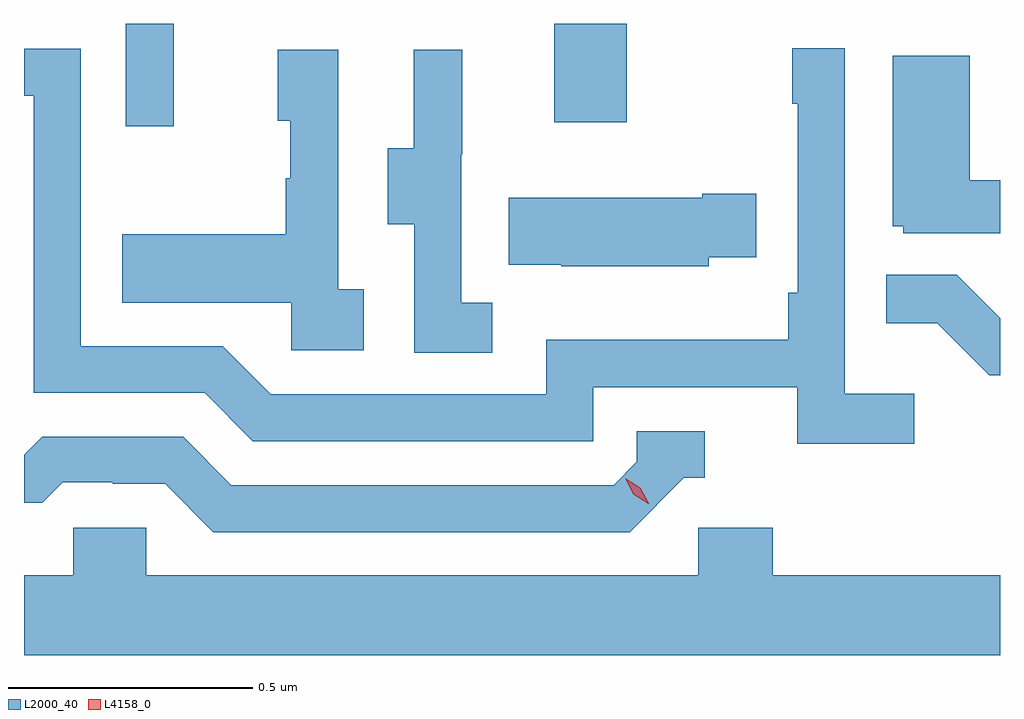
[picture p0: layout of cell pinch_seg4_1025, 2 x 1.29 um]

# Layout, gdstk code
import gdstk
lib = gdstk.Library(unit=1e-6, precision=1e-09)
def R(c, l, rs):  # rectangles x0, y0, x1, y1
    for r in rs: c.add(gdstk.rectangle(r[:2], r[2:], *l))
def P(c, l, *ps):  # polygons
    for p in ps: c.add(gdstk.Polygon(p, *l))
L2000_40 = (2000, 40)
L4158_0 = (4158, 0)

pinch_seg4_1025 = lib.new_cell('pinch_seg4_1025')
R(pinch_seg4_1025, L2000_40, [(821.337,784.584,821.435,784.795), (822.215,784.593,822.363,784.795)])
P(pinch_seg4_1025, L2000_40, [(822.952,784.036),(822.81,784.036),(822.81,784.744),(822.702,784.744),(822.702,784.631),(822.714,784.631),(822.714,784.243),(822.694,784.243),(822.694,784.147),(822.198,784.147),(822.198,784.035),(821.634,784.035),(821.535,784.134),(821.244,784.134),(821.244,784.743),(821.128,784.743),(821.128,784.647),(821.148,784.647),(821.148,784.038),(821.498,784.038),(821.597,783.939),(822.294,783.939),(822.294,784.05),(822.713,784.05),(822.713,783.934),(822.952,783.934)],
  [(821.824,784.25),(821.772,784.25),(821.772,784.741),(821.648,784.741),(821.648,784.596),(821.674,784.596),(821.674,784.478),(821.664,784.478),(821.664,784.363),(821.329,784.363),(821.329,784.223),(821.676,784.223),(821.676,784.125),(821.824,784.125)],
  [(822.088,784.223),(822.024,784.223),(822.024,784.527),(822.026,784.527),(822.026,784.741),(821.927,784.741),(821.927,784.539),(821.873,784.539),(821.873,784.384),(821.928,784.384),(821.928,784.12),(822.088,784.12)],
  [(823.128,784.474),(823.066,784.474),(823.066,784.729),(822.908,784.729),(822.908,784.38),(822.93,784.38),(822.93,784.365),(823.128,784.365)],
  [(822.531,784.316),(822.629,784.316),(822.629,784.446),(822.518,784.446),(822.518,784.438),(822.121,784.438),(822.121,784.301),(822.229,784.301),(822.229,784.298),(822.531,784.298)],
  [(823.128,784.191),(823.039,784.28),(822.895,784.28),(822.895,784.181),(822.999,784.181),(823.106,784.074),(823.128,784.074)],
  [(822.48,783.864),(822.523,783.864),(822.523,783.96),(822.384,783.96),(822.384,783.897),(822.336,783.849),(821.553,783.849),(821.454,783.948),(821.165,783.948),(821.128,783.911),(821.128,783.813),(821.165,783.813),(821.207,783.855),(821.31,783.855),(821.31,783.852),(821.417,783.852),(821.516,783.753),(822.369,783.753)],
  [(823.128,783.664),(822.662,783.664),(822.662,783.762),(822.51,783.762),(822.51,783.664),(821.379,783.664),(821.379,783.762),(821.229,783.762),(821.229,783.664),(821.128,783.664),(821.128,783.5),(823.128,783.5)])
P(pinch_seg4_1025, L4158_0, [(822.407,783.811),(822.376,783.83),(822.36,783.863),(822.36,783.863),(822.36,783.863),(822.391,783.844),(822.408,783.812),(822.408,783.811)])

lib.write_gds('pinch_seg4_1025.gds')
